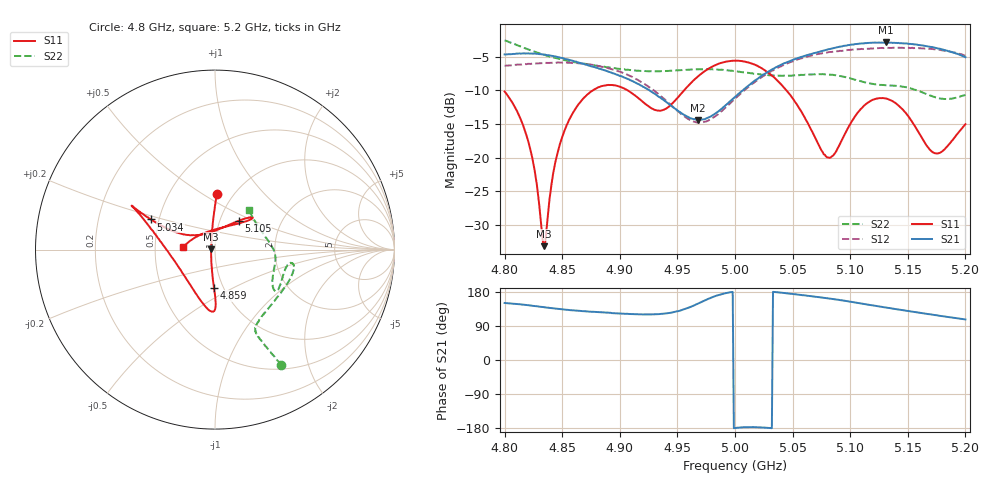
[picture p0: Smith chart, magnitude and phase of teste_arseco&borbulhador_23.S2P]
! Network Analyzer HP8722D
! Hewlett-Packard
! Data name: Linha & Wilkinson
! Saver's name: Rodrigo Anjos
! Comments: Teste da utilização de aquisição
! continua pelo VNA HP8722D
! Time and date: 15/4/2025 15:49
!  Frequency  S11  S21  S12  S22
# HZ  S  MA R 50
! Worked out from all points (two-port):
!   401 points, 4.8 GHz to 5.2 GHz, reference 50 ohm
!   highest |S21| = -2.90 dB at 5.131 GHz (marker M1); lowest = -14.4 dB at 4.968 GHz (marker M2)
!   |S21| within 3 dB of the highest: start of sweep to 4.864 GHz; 5.045 GHz to end of sweep
!   lowest |S11| = -33.2 dB at 4.834 GHz (marker M3), VSWR 1.04, Z = 47.9 + j0.232 ohm
!   |S11| at or under -10 dB: start of sweep to 4.877 GHz; 4.907 GHz to 4.956 GHz (49.4 MHz wide, 1 % of centre); 5.045 GHz to end of sweep
!   |S22| runs from -11.3 to -2.6 dB; largest |S21 - S12| = 1.3
!   S11 on the Smith chart (normalised r, x): 4.8 GHz: 0.84, +0.57; 4.859 GHz: 0.90, -0.40; 5.034 GHz: 0.45, +0.18; 5.105 GHz: 1.23, +0.41; 5.2 GHz: 0.70, +0.02
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4.8e9  0.3094 88.1  0.5831 150.5  0.4804 -111.6  0.7401 -60.1
4.812e9  0.2099 91.3  0.5916 147.2  0.4898 -111.1  0.6765 -61.1
4.821e9  0.1276 96.2  0.5932 144.2  0.4966 -110.7  0.6326 -61.8
4.827e9  0.07166 105.2  0.5912 142.1  0.4994 -110.0  0.6079 -62.4
4.834e9  0.02198 173.7  0.5813 139.4  0.5016 -109.6  0.5803 -62.9
4.836e9  0.0272 -143.5  0.5773 138.6  0.5045 -109.3  0.5739 -63.0
4.841e9  0.06581 -108.0  0.5694 136.8  0.5053 -108.9  0.5573 -63.4
4.845e9  0.1002 -100.5  0.5604 135.5  0.5065 -108.9  0.5456 -63.5
4.859e9  0.2125 -91.4  0.5233 131.0  0.5045 -108.5  0.5144 -63.8
4.867e9  0.2662 -89.6  0.5002 129.1  0.4982 -108.8  0.5005 -63.3
4.895e9  0.3441 -93.8  0.4205 123.7  0.4478 -111.8  0.4603 -57.0
4.934e9  0.2231 -146.0  0.2821 121.1  0.2941 -116.2  0.4368 -35.5
4.968e9  0.4014 159.4  0.1903 148.9  0.1817 -86.9  0.4519 -17.2
5e9  0.5244 152.2  0.2813 -179.5  0.2739 -49.8  0.4375 -10.0
5.034e9  0.394 154.8  0.4594 179.5  0.4499 -43.5  0.4066 -15.4
5.067e9  0.1559 149.1  0.5898 168.1  0.5746 -46.6  0.4138 -29.4
5.083e9  0.1002 101.8  0.6414 161.8  0.6077 -49.5  0.4117 -33.8
5.105e9  0.2068 50.6  0.6957 151.5  0.6345 -54.5  0.3764 -31.6
5.131e9  0.2742 40.0  0.7162 138.4  0.6511 -62.3  0.3441 -14.8
5.134e9  0.2689 39.9  0.713 137.2  0.6514 -63.4  0.3435 -12.6
5.173e9  0.108 100.4  0.655 118.8  0.6365 -77.1  0.2821 18.8
5.2e9  0.1769 174.5  0.5553 107.1  0.5714 -86.3  0.2915 49.9
